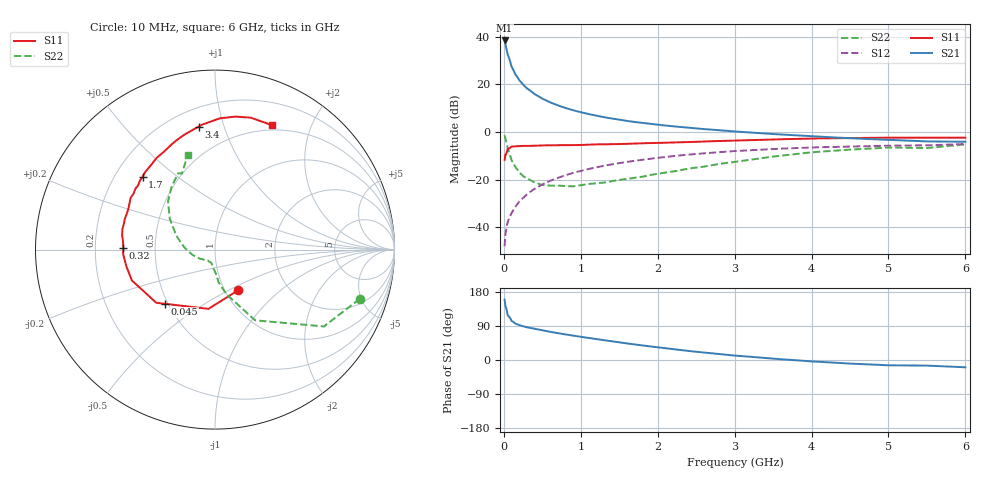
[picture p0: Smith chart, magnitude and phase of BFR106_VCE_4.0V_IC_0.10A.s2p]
! Infineon Technologies  Discrete & RF Semiconductors
! BFR106
! VCE =  4.0 V,  IC = 0.10 A
! Common Emitter S-Parameters:  Nov 2015
# GHz  S  MA  R  50
!  f  S11  S21  S12  S22
! GHz  MAG  ANG  MAG  ANG  MAG  ANG  MAG  ANG
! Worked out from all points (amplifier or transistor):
!   210 points, 10 MHz to 6 GHz, reference 50 ohm
!   highest |S21| = 38.5 dB at 10 MHz (marker M1)
!   |S21| within 3 dB of that: start of sweep to 31.72 MHz
!   unconditionally stable (mu >= 1): 149.8 MHz to 2.567 GHz; 5.354 GHz to end of sweep
!   at 185 MHz: K = 1.02, MAG = 25.4 dB, |S12| = -29.9 dB
!   at 1.52 GHz: K = 1.07, MAG = 7.5 dB, |S12| = -13.0 dB
!   at 6 GHz: K = 1.00, MAG = 0.2 dB, |S12| = -5.0 dB
!   S11 on the Smith chart (normalised r, x): 10 MHz: 1.15, -0.56; 45 MHz: 0.48, -0.35; 320 MHz: 0.32, +0.01; 1.7 GHz: 0.32, +0.38; 3.4 GHz: 0.31, +0.83; 6 GHz: 0.45, +1.47
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0.01  0.2607 -60.6  83.97 159.2  0.004 79.2  0.852 -18.8
0.02  0.3321 -96.3  72.05 143.3  0.0071 65.4  0.7428 -35.2
0.045  0.4108 -132.7  46.85 124.3  0.0118 62.2  0.4926 -54.3
0.05  0.4412 -137.8  42.85 118.0  0.0128 61.8  0.4533 -60.4
0.1  0.4941 -159.6  23.85 103.1  0.0198 65.3  0.2565 -75.6
0.15  0.5025 -169.2  16.25 96.0  0.0267 69.2  0.1835 -83.8
0.2  0.5067 -173.5  12.36 92.0  0.0344 71.8  0.1437 -86.2
0.26  0.5123 -177.9  9.565 88.2  0.0428 72.8  0.1156 -91.8
0.3  0.5105 180.0  8.281 86.3  0.049 73.6  0.1064 -94.7
0.32  0.511 178.9  7.876 85.6  0.052 73.7  0.1025 -95.7
0.4  0.515 174.7  6.27 82.2  0.064 74.2  0.0872 -100.5
0.5  0.5241 171.0  5.033 78.2  0.079 73.8  0.0771 -105.2
0.6  0.5283 167.2  4.221 74.4  0.0941 72.8  0.0748 -109.6
0.8  0.5307 161.3  3.204 67.5  0.1238 70.5  0.0733 -120.8
1.02  0.5363 153.6  2.561 60.6  0.1554 67.6  0.0775 -129.0
1.7  0.5715 134.9  1.627 41.0  0.2488 57.3  0.1091 -158.5
2.02  0.5922 126.5  1.412 33.1  0.2895 52.2  0.1347 -170.2
3.1  0.6699 102.8  1.003 10.2  0.406 34.9  0.2484 155.2
3.4  0.6917 97.5  0.93 5.2  0.4325 30.3  0.2902 147.7
4.1  0.735 86.5  0.8 -4.8  0.4789 19.9  0.3848 132.0
5.1  0.7606 73.8  0.675 -14.2  0.5182 7.4  0.47 115.3
6  0.7614 65.3  0.625 -19.2  0.5598 -2.1  0.5494 106.1
